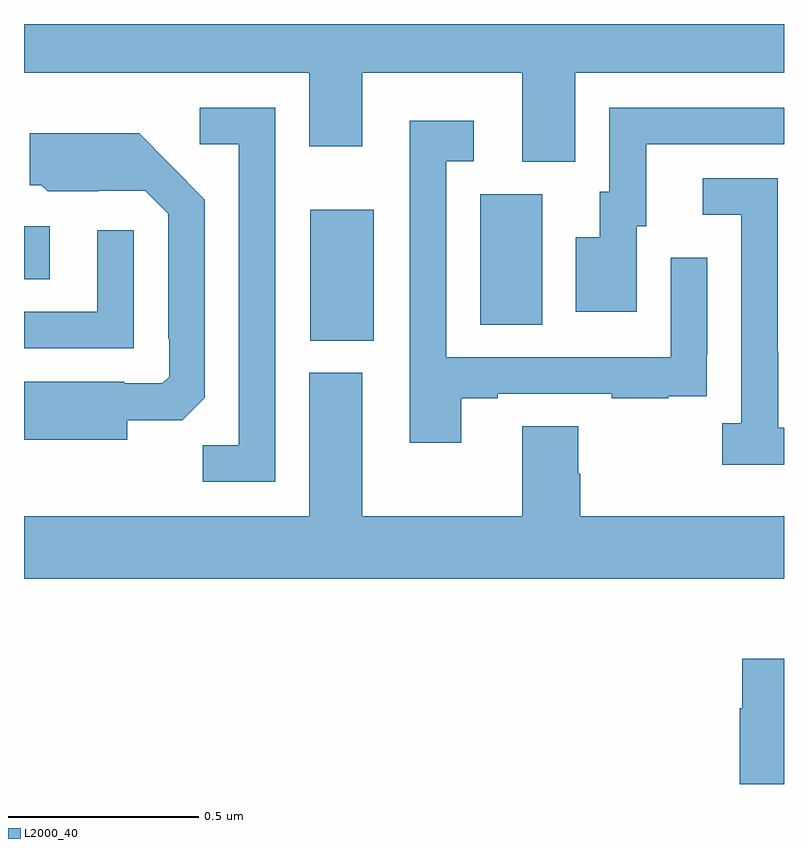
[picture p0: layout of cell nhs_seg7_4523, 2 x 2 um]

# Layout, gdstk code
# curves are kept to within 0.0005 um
import gdstk
lib = gdstk.Library(unit=1e-6, precision=1e-09)
def R(c, l, rs):  # rectangles x0, y0, x1, y1
    for r in rs: c.add(gdstk.rectangle(r[:2], r[2:], *l))
def P(c, l, *ps):  # polygons
    for p in ps: c.add(gdstk.Polygon(p, *l))
L2000_40 = (2000, 40)

nhs_seg7_4523 = lib.new_cell('nhs_seg7_4523')
R(nhs_seg7_4523, L2000_40, [(173.753,1077.167,173.92,1077.511), (174.2,1077.208,174.364,1077.552), (173,1077.328,173.068,1077.468)])
P(nhs_seg7_4523, L2000_40, [(173,1077.872),(173.75,1077.872),(173.75,1077.678),(173.89,1077.678),(173.89,1077.872),(174.311,1077.872),(174.311,1077.637),(174.451,1077.637),(174.451,1077.872),(175,1077.872),(175,1078),(173,1078)],
  [(173.661,1077.78),(173.463,1077.78),(173.463,1077.684),(173.565,1077.684),(173.565,1076.891),(173.47,1076.891),(173.47,1076.796),(173.661,1076.796)],
  [(174.613,1077.468),(174.637,1077.468),(174.637,1077.684),(175,1077.684),(175,1077.78),(174.54,1077.78),(174.54,1077.558),(174.515,1077.558),(174.515,1077.439),(174.452,1077.439),(174.452,1077.243),(174.613,1077.243)],
  [(174.151,1077.015),(174.247,1077.015),(174.247,1077.027),(174.547,1077.027),(174.547,1077.015),(174.695,1077.015),(174.695,1077.021),(174.797,1077.021),(174.797,1077.13),(174.798,1077.13),(174.798,1077.385),(174.702,1077.385),(174.702,1077.123),(174.111,1077.123),(174.111,1077.639),(174.184,1077.639),(174.184,1077.745),(174.015,1077.745),(174.015,1076.898),(174.151,1076.898)],
  [(173.272,1076.957),(173.416,1076.957),(173.475,1077.016),(173.475,1077.538),(173.303,1077.712),(173.015,1077.712),(173.015,1077.576),(173.046,1077.576),(173.062,1077.56),(173.196,1077.56),(173.196,1077.561),(173.319,1077.561),(173.379,1077.501),(173.379,1077.172),(173.382,1077.172),(173.382,1077.072),(173.364,1077.054),(173.264,1077.054),(173.264,1077.058),(173,1077.058),(173,1076.906),(173.272,1076.906)],
  [(175,1076.937),(174.985,1076.937),(174.985,1077.137),(174.984,1077.137),(174.984,1077.594),(174.786,1077.594),(174.786,1077.498),(174.888,1077.498),(174.888,1076.95),(174.837,1076.95),(174.837,1076.84),(175,1076.84)],
  [(173.289,1077.457),(173.193,1077.457),(173.193,1077.243),(173,1077.243),(173,1077.147),(173.289,1077.147)],
  [(175,1076.704),(174.464,1076.704),(174.464,1076.817),(174.459,1076.817),(174.459,1076.942),(174.311,1076.942),(174.311,1076.704),(173.89,1076.704),(173.89,1077.082),(173.75,1077.082),(173.75,1076.704),(173,1076.704),(173,1076.54),(175,1076.54)],
  [(175,1076.329),(174.89,1076.329),(174.89,1076.199),(174.883,1076.199),(174.883,1076),(175,1076)])

lib.write_gds('nhs_seg7_4523.gds')
